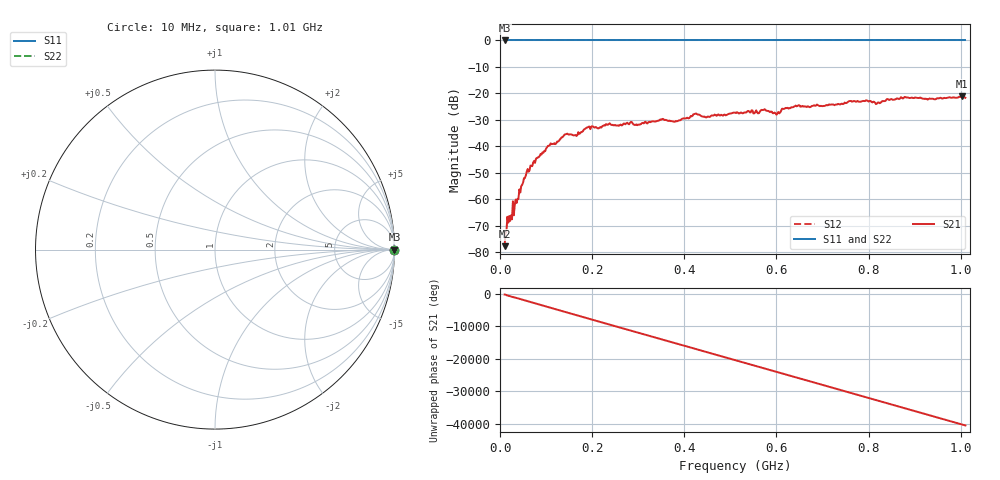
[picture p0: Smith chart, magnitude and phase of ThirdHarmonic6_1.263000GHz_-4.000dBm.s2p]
! 8/16/2025 1:35:42 PM
! C:\ANRITSUVNA\TEMP\TEMP.S2P
! CHANNEL.1
! TR.MEASUREMENT
! RAW.DATA
! RF.CORRECTION.OFF
! AVERAGING.OFF
! IF.BANDWIDTH: 5KHZ
! SWEEPTYPE:  FREQ.SWEEP(Linear)
! Reference Plane Port Info
! PORT:  PORT1  PORT2
! DISTANCE:  0  m  0  m
! TIME:  0  s  0  s
! PHASE.OFFSET:  0  deg.  0  deg.
! LOSS:  0  dB  0  dB
! REF.LOSS:  0  dB  0  dB
! REF.FREQ:  0  Hz  0  Hz
! Power Info
! POWER:  -20  dBm  -20  dBm
! EFF.POWER:  -20  dBm  -20  dBm
! SOURCE.ATTEN:  0  dB  0  dB
! TEST.ATTEN:  0  dB  0  dB
# GHZ S RI R 50.0
! FREQ.GHZ  S11RE  S11IM  S21RE  S21IM  S12RE  S12IM  S22RE  S22IM
!; PortSelection: Port_12
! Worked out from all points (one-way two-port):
!   501 points, 10 MHz to 1.01 GHz, reference 50 ohm
!   highest |S21| = -21.12 dB at 1.002 GHz (marker M1); lowest = -77.7 dB at 10 MHz (marker M2)
!   lowest |S11| = 0.0 dB at 10 MHz (marker M3)
!   |S11| at or under -10 dB: nowhere
!   |S22| runs from 0.0 to 0.0 dB; largest |S21 - S12| = 1.1
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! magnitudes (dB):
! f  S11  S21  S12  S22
! 10 MHz  0.0  -77.7  0.0  0.0
! 16 MHz  0.0  -66.6  0.0  0.0
! 20 MHz  0.0  -66.2  0.0  0.0
! 26 MHz  0.0  -67.5  0.0  0.0
! 56 MHz  0.0  -51.0  0.0  0.0
! 70 MHz  0.0  -47.5  0.0  0.0
! 106 MHz  0.0  -39.8  0.0  0.0
! 142 MHz  0.0  -35.4  0.0  0.0
! 178 MHz  0.0  -34.5  0.0  0.0
! 234 MHz  0.0  -31.8  0.0  0.0
! 298 MHz  0.0  -32.0  0.0  0.0
! 344 MHz  0.0  -30.4  0.0  0.0
! 510 MHz  0.0  -27.2  0.0  0.0
! 572 MHz  0.0  -26.2  0.0  0.0
! 602 MHz  0.0  -27.5  0.0  0.0
! 644 MHz  0.0  -24.9  0.0  0.0
! 678 MHz  0.0  -24.7  0.0  0.0
! 760 MHz  0.0  -22.9  0.0  0.0
! 820 MHz  0.0  -23.4  0.0  0.0
! 844 MHz  0.0  -22.4  0.0  0.0
! 1.002 GHz  0.0  -21.1  0.0  0.0
! 1.01 GHz  0.0  -21.6  0.0  0.0
